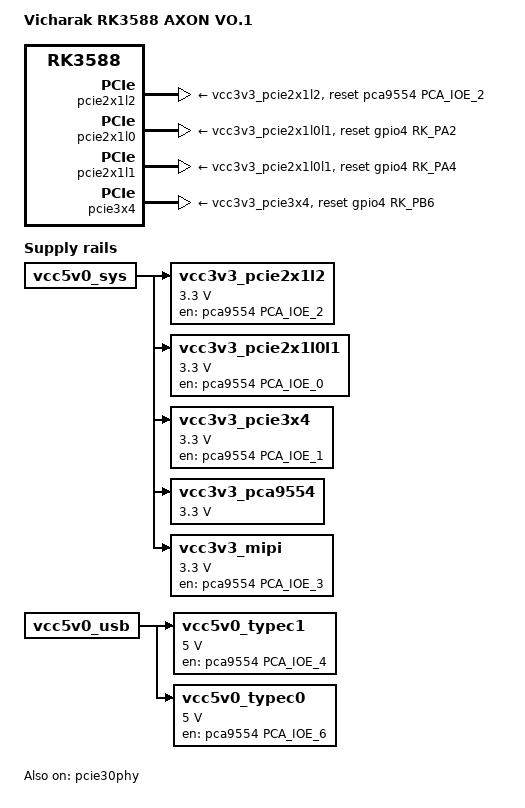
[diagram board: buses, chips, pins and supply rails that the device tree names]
// SPDX-License-Identifier: (GPL-2.0+ OR MIT)
/*
 * Copyright (C) 2023 Vicharak India
 */

/dts-v1/;

#include "rk3588-axon.dtsi"
#include "rk3588-axon-mipi.dtsi"

/ {
	model = "Vicharak RK3588 AXON VO.1";
	compatible = "vicharak,rk3588-axon", "rockchip,rk3588";

	vcc3v3_pcie2x1l2: vcc3v3-pcie2x1l2 {
		compatible = "regulator-fixed";
		regulator-name = "vcc3v3_pcie2x1l2";
		regulator-min-microvolt = <3300000>;
		regulator-max-microvolt = <3300000>;
		startup-delay-us = <5000>;
		regulator-boot-on;
		regulator-always-on;
		enable-active-high;
		gpio = <&pca9554 PCA_IOE_2 GPIO_ACTIVE_HIGH>;
		vin-supply = <&vcc5v0_sys>;
	};

	vcc3v3_pcie2x1l0l1: vcc3v3-pcie2x1l0 {
		compatible = "regulator-fixed";
		regulator-name = "vcc3v3_pcie2x1l0l1";
		regulator-min-microvolt = <3300000>;
		regulator-max-microvolt = <3300000>;
		startup-delay-us = <5000>;
		regulator-boot-on;
		regulator-always-on;
		enable-active-high;
		gpio = <&pca9554 PCA_IOE_0 GPIO_ACTIVE_HIGH>;
		vin-supply = <&vcc5v0_sys>;
	};

	vcc3v3_pcie3x4: vcc3v3-pcie3x4 {
		compatible = "regulator-fixed";
		regulator-name = "vcc3v3_pcie3x4";
		regulator-min-microvolt = <3300000>;
		regulator-max-microvolt = <3300000>;
		regulator-boot-on;
		regulator-always-on;
		enable-active-high;
		gpio = <&pca9554 PCA_IOE_1 GPIO_ACTIVE_HIGH>;
		startup-delay-us = <5000>;
		vin-supply = <&vcc5v0_sys>;
	};

	vcc5v0_typec1: vcc5v0-typec1-regulator {
		compatible = "regulator-fixed";
		regulator-name = "vcc5v0_typec1";
		regulator-min-microvolt = <5000000>;
		regulator-max-microvolt = <5000000>;
		enable-active-high;
		gpio = <&pca9554 PCA_IOE_4 GPIO_ACTIVE_HIGH>;
		vin-supply = <&vcc5v0_usb>;
	};

	vcc5v0_typec0: vcc5v0-typec0-regulator {
		compatible = "regulator-fixed";
		regulator-name = "vcc5v0_typec0";
		regulator-min-microvolt = <5000000>;
		regulator-max-microvolt = <5000000>;
		enable-active-high;
		gpio = <&pca9554 PCA_IOE_6 GPIO_ACTIVE_HIGH>;
		vin-supply = <&vcc5v0_usb>;
	};

	vcc3v3_pca9554: vcc3v3-pca9554 {
		compatible = "regulator-fixed";
		regulator-name = "vcc3v3_pca9554";
		regulator-min-microvolt = <3300000>;
		regulator-max-microvolt = <3300000>;
		regulator-boot-on;
		regulator-always-on;
		enable-active-high;
		vin-supply = <&vcc5v0_sys>;
	};

	vcc3v3_mipi: vcc3v3-mipi {
		compatible = "regulator-fixed";
		regulator-name = "vcc3v3_mipi";
		regulator-min-microvolt = <3300000>;
		regulator-max-microvolt = <3300000>;
		startup-delay-us = <5000>;
		regulator-boot-on;
		regulator-always-on;
		enable-active-high;
		gpio = <&pca9554 PCA_IOE_3 GPIO_ACTIVE_HIGH>;
		vin-supply = <&vcc5v0_sys>;
	};
};

// PCIE: {{{
// fe190000: Standard SATA only (PCIE20_0)
&pcie2x1l2 {
	reset-gpios = <&pca9554 PCA_IOE_2 GPIO_ACTIVE_HIGH>;
	vpcie3v3-supply = <&vcc3v3_pcie2x1l2>;
	status = "okay";
};

// fe170000: (PCIE20_2)
&pcie2x1l0 {
	reset-gpios = <&gpio4 RK_PA2 GPIO_ACTIVE_HIGH>;
	vpcie3v3-supply = <&vcc3v3_pcie2x1l0l1>;
	status = "okay";
};

// fe180000: (PCIE20_1) Tested sata2
&pcie2x1l1 {
	reset-gpios = <&gpio4 RK_PA4 GPIO_ACTIVE_HIGH>;
	vpcie3v3-supply = <&vcc3v3_pcie2x1l0l1>;
	status = "okay";
};

// PCIE 3.0 - 4 slots: {{{
&pcie30phy {
	status = "okay";
};

// fe150000: PCIE 3.0
&pcie3x4 {
	reset-gpios = <&gpio4 RK_PB6 GPIO_ACTIVE_HIGH>;
	vpcie3v3-supply = <&vcc3v3_pcie3x4>;
	status = "okay";
};
// End of PCIE 3.0 - 4 slots }}}
// End of PCIE }}}

&i2c6 {
	// PCA9554 GPIO Expander
	pca9554: gpio@24 {
		compatible = "nxp,pca9554";
		reg = <0x24>;
		vcc-supply = <&vcc3v3_pca9554>;
		gpio-controller;
		#gpio-cells = <2>;
		gpio-group-num = <300>;
		status = "disabled";
	};
};
